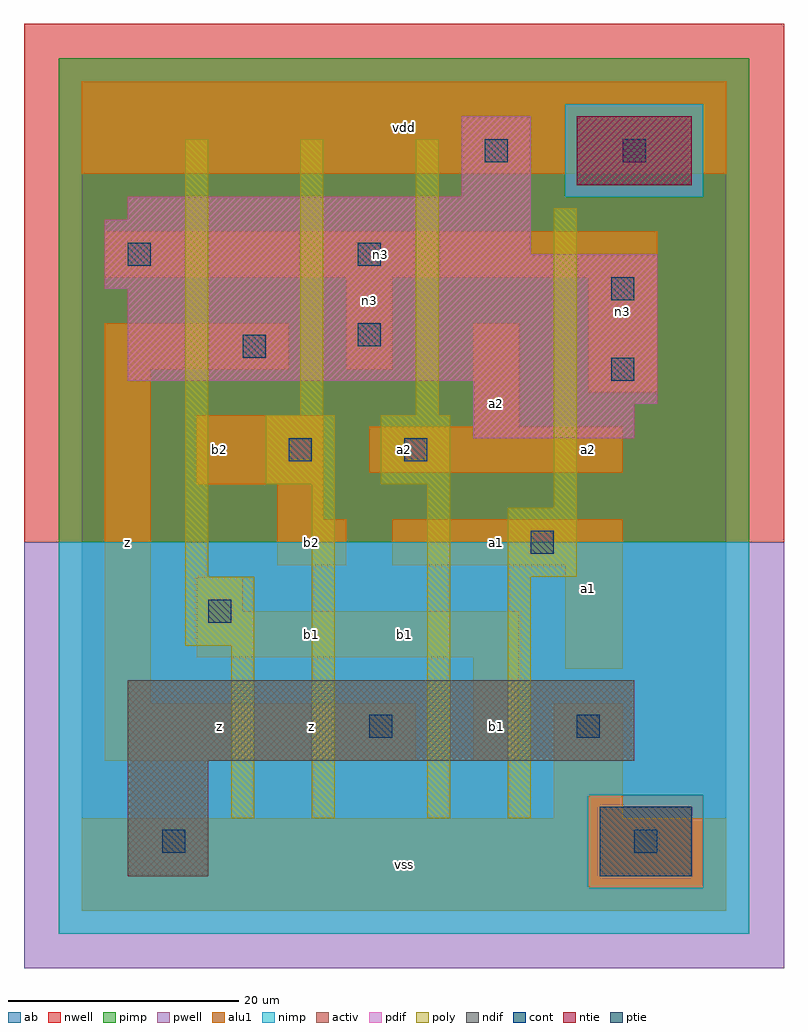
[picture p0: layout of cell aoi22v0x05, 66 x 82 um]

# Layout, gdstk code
import gdstk
lib = gdstk.Library(unit=1e-6, precision=1e-09)
def R(c, l, rs):  # rectangles x0, y0, x1, y1
    for r in rs: c.add(gdstk.rectangle(r[:2], r[2:], *l))
ndif = (3, 0)
pdif = (4, 0)
ntie = (5, 0)
ptie = (6, 0)
cont = (25, 0)
pwell = (41, 0)
nwell = (42, 0)
activ = (43, 0)
pimp = (44, 0)
nimp = (45, 0)
poly = (46, 0)
alu1 = (49, 0)
ab = (63, 0)

aoi22v0x05 = lib.new_cell('aoi22v0x05')
R(aoi22v0x05, ndif, [(4,3,11,13), (4,13,48,20)])
R(aoi22v0x05, pdif, [(34,41,48,44), (34,44,50,46), (4,46,50,54), (2,54,50,57), (2,57,39,60), (4,60,39,62), (33,62,39,69)])
R(aoi22v0x05, ntie, [(43,63,53,69)])
R(aoi22v0x05, ptie, [(45,3,53,9)])
R(aoi22v0x05, cont, [(7,5,9,7), (48,5,50,7), (25,15,27,17), (43,15,45,17), (11,25,13,27), (39,31,41,33), (18,39,20,41), (28,39,30,41), (46,46,48,48), (14,48,16,50), (24,49,26,51), (46,53,48,55), (4,56,6,58), (24,56,26,58), (35,65,37,67), (47,65,49,67)])
R(aoi22v0x05, pwell, [(-5,-5,61,32)])
R(aoi22v0x05, nwell, [(-5,32,61,77)])
R(aoi22v0x05, activ, [(4,3,11,13), (45,3,53,9), (4,13,48,20), (34,41,48,44), (34,44,50,46), (4,46,50,54), (2,54,50,57), (2,57,39,60), (4,60,39,62), (33,62,39,69), (43,63,53,69)])
R(aoi22v0x05, pimp, [(44,2,54,10), (-2,32,58,62), (-2,62,42,70), (54,62,58,70), (-2,70,58,74)])
R(aoi22v0x05, nimp, [(-2,-2,58,2), (-2,2,44,10), (54,2,58,10), (-2,10,58,32), (42,62,54,70)])
R(aoi22v0x05, poly, [(13,8,15,23), (20,8,22,37), (30,8,32,37), (37,8,39,29), (9,23,15,29), (9,29,11,67), (37,29,43,35), (41,35,43,61), (16,37,22,43), (26,37,32,43), (19,43,21,67), (29,43,31,67)])
R(aoi22v0x05, alu1, [(0,0,56,8), (41,8,47,18), (2,13,29,18), (34,13,38,22), (2,18,6,47), (42,21,47,30), (10,22,38,26), (10,26,14,29), (17,30,23,34), (27,30,47,34), (17,34,21,37), (10,37,21,43), (25,38,47,42), (34,42,38,51), (44,45,50,55), (2,47,18,51), (23,47,27,55), (2,55,50,59), (0,64,56,72)])
R(aoi22v0x05, ab, [(0,0,56,72)])
aoi22v0x05.add(gdstk.Label('n3', (25,53), layer=49, texttype=0))
aoi22v0x05.add(gdstk.Label('n3', (47,52), layer=49, texttype=0))
aoi22v0x05.add(gdstk.Label('n3', (26,57), layer=49, texttype=0))
aoi22v0x05.add(gdstk.Label('z', (4,32), layer=49, texttype=0))
aoi22v0x05.add(gdstk.Label('z', (20,16), layer=49, texttype=0))
aoi22v0x05.add(gdstk.Label('z', (12,16), layer=49, texttype=0))
aoi22v0x05.add(gdstk.Label('b1', (20,24), layer=49, texttype=0))
aoi22v0x05.add(gdstk.Label('b2', (20,32), layer=49, texttype=0))
aoi22v0x05.add(gdstk.Label('b2', (12,40), layer=49, texttype=0))
aoi22v0x05.add(gdstk.Label('vss', (28,4), layer=49, texttype=0))
aoi22v0x05.add(gdstk.Label('b1', (36,16), layer=49, texttype=0))
aoi22v0x05.add(gdstk.Label('b1', (28,24), layer=49, texttype=0))
aoi22v0x05.add(gdstk.Label('a1', (36,32), layer=49, texttype=0))
aoi22v0x05.add(gdstk.Label('a2', (28,40), layer=49, texttype=0))
aoi22v0x05.add(gdstk.Label('a2', (36,44), layer=49, texttype=0))
aoi22v0x05.add(gdstk.Label('vdd', (28,68), layer=49, texttype=0))
aoi22v0x05.add(gdstk.Label('a1', (44,28), layer=49, texttype=0))
aoi22v0x05.add(gdstk.Label('a2', (44,40), layer=49, texttype=0))

lib.write_gds('aoi22v0x05.gds')
